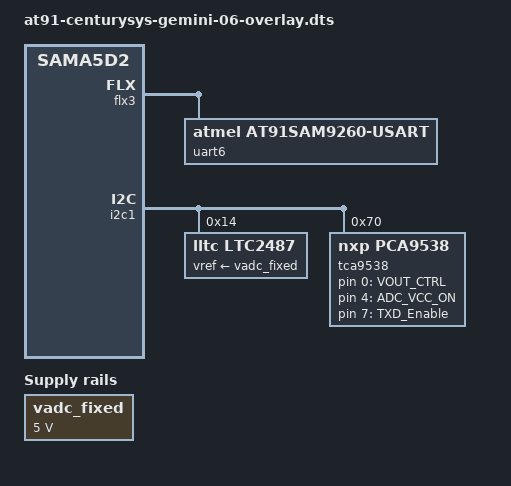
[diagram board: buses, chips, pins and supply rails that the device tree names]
// SPDX-License-Identifier: (GPL-2.0+ OR MIT)
/*
 * at91-centurysys-gemini-06-overlay.dts - Device Tree Overlay file (xio_id: 0x06)
 *                                           for Century Systems Gemini board
 *
 *  Copyright (C) 2022 Century Systems
 *                     Takeyoshi Kikuchi <kikuchi@centurysys.co.jp>
 */

/dts-v1/;
/plugin/;
#include "sama5d2-pinfunc.h"
#include <dt-bindings/dma/at91.h>
#include <dt-bindings/interrupt-controller/irq.h>
#include <dt-bindings/clock/at91.h>
#include <dt-bindings/mfd/atmel-flexcom.h>
#include <dt-bindings/pinctrl/at91.h>
#include <dt-bindings/gpio/gpio.h>

/ {
	compatible = "atmel,sama5d2-gemini", "atmel,sama5d2", "atmel,sama5";

	fragment@0 {
		target = <&pioA>;
		__overlay__ {
			pinctrl_flx3_uart_default: flx3_usart_default {
				pinmux = <PIN_PC20__FLEXCOM3_IO0>, //TX
					 <PIN_PC19__FLEXCOM3_IO1>; //RX
				bias-disable;
			};
		};
	};

	fragment@1 {
		target-path = "/";
		__overlay__ {
			vadc_fixed: fixedregulator_adc {
				compatible = "regulator-fixed";
				regulator-name = "VADC_5V";
				regulator-min-microvolt = <5000000>;
				regulator-max-microvolt = <5000000>;
			};
		};
	};

	fragment@2 {
		target = <&flx3>;
		__overlay__ {
			atmel,flexcom-mode = <ATMEL_FLEXCOM_MODE_USART>;
			#address-cells = <1>;
			#size-cells = <1>;
			status = "okay";

			uart6: serial@200 {
				compatible = "atmel,at91sam9260-usart";
				reg = <0x200 0x200>;
				interrupt-parent = <&aic>;
				interrupts = <22 IRQ_TYPE_LEVEL_HIGH 7>;
				dmas = <&dma0
					(AT91_XDMAC_DT_MEM_IF(0) | AT91_XDMAC_DT_PER_IF(1)
					| AT91_XDMAC_DT_PERID(17))>,
				       <&dma0
					(AT91_XDMAC_DT_MEM_IF(0) | AT91_XDMAC_DT_PER_IF(1)
					| AT91_XDMAC_DT_PERID(18))>;
				dma-names = "tx", "rx";
				clocks = <&pmc PMC_TYPE_PERIPHERAL 22>;
				clock-names = "usart";
				pinctrl-names = "default";
				pinctrl-0 = <&pinctrl_flx3_uart_default>;
				atmel,fifo-size = <32>;
				atmel,use-dma-rx;
				atmel,use-dma-tx;
				status = "okay";
			};
		};
	};

	fragment@3 {
		target = <&i2c1>;
		__overlay__ {
			#address-cells = <1>;
			#size-cells = <0>;

			/* Water Meter Option (xio_id: 6) */
			ltc2487: ltc2487@14 {
				compatible = "lltc,ltc2487";
				reg = <0x14>;
				vref-supply = <&vadc_fixed>;
			};

			tca9538: tca9538@70 {
				compatible = "nxp,pca9538";
				reg = <0x70>;
				#address-cells = <1>;
				#size-cells = <0>;
				#gpio-cells = <2>;

				gpio-line-names = "eFUSE_SHDN_N",
						  "eFUSE_FLT_N",
						  "Reserved2",
						  "Reserved3",
						  "DISO_PDIS_N",
						  "Reserved5",
						  "Reserved6",
						  "TXD_Enable";
			};
		};
	};

	fragment@4 {
		target = <&leds>;
		__overlay__ {
			tca953x_efuse_shdn_n {
				label = "VOUT_CTRL";
				gpios = <&tca9538 0 GPIO_ACTIVE_HIGH>;
			};

			tca953x_adc_vcc_on {
				label = "ADC_VCC_ON";
				gpios = <&tca9538 4 GPIO_ACTIVE_HIGH>;
				default-state = "on";
			};

			tca953x_txd_enable {
				label = "TXD_Enable";
				gpios = <&tca9538 7 GPIO_ACTIVE_HIGH>;
			};
		};
	};
};
